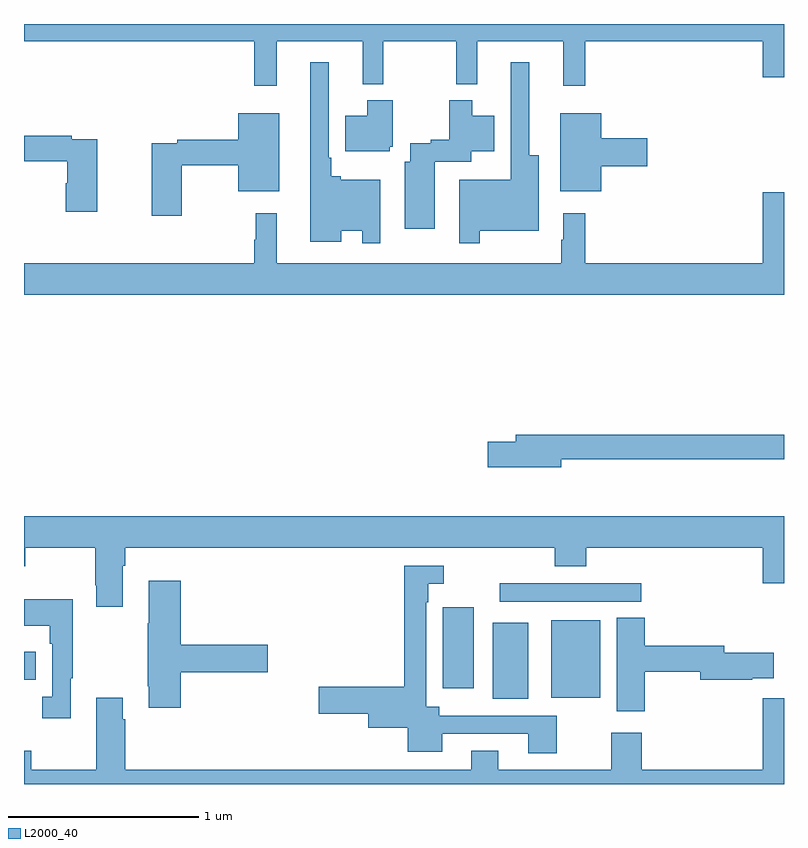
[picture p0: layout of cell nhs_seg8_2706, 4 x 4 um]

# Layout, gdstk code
import gdstk
lib = gdstk.Library(unit=1e-6, precision=1e-09)
def R(c, l, rs):  # rectangles x0, y0, x1, y1
    for r in rs: c.add(gdstk.rectangle(r[:2], r[2:], *l))
def P(c, l, *ps):  # polygons
    for p in ps: c.add(gdstk.Polygon(p, *l))
L2000_40 = (2000, 40)

nhs_seg8_2706 = lib.new_cell('nhs_seg8_2706')
R(nhs_seg8_2706, L2000_40, [(283.466,1138.349,283.654,1138.75), (283.775,1138.355,284.032,1138.762), (283.205,1138.404,283.366,1138.831), (281,1138.45,281.063,1138.597), (283.503,1138.86,284.248,1138.956)])
P(nhs_seg8_2706, L2000_40, [(282.329,1141.808),(282.782,1141.808),(282.782,1141.583),(282.892,1141.583),(282.892,1141.808),(283.275,1141.808),(283.275,1141.583),(283.385,1141.583),(283.385,1141.808),(283.838,1141.808),(283.838,1141.575),(283.955,1141.575),(283.955,1141.808),(284.888,1141.808),(284.888,1141.62),(285,1141.62),(285,1141.9),(281,1141.9),(281,1141.808),(282.211,1141.808),(282.211,1141.575),(282.329,1141.575)],
  [(283.399,1140.812),(283.708,1140.812),(283.708,1141.21),(283.66,1141.21),(283.66,1141.699),(283.563,1141.699),(283.563,1141.081),(283.29,1141.081),(283.29,1140.747),(283.399,1140.747)],
  [(282.876,1141.081),(282.666,1141.081),(282.666,1141.099),(282.616,1141.099),(282.616,1141.195),(282.603,1141.195),(282.603,1141.699),(282.506,1141.699),(282.506,1140.755),(282.67,1140.755),(282.67,1140.812),(282.78,1140.812),(282.78,1140.747),(282.876,1140.747)],
  [(283.162,1141.176),(283.354,1141.176),(283.354,1141.229),(283.474,1141.229),(283.474,1141.417),(283.36,1141.417),(283.36,1141.498),(283.238,1141.498),(283.238,1141.292),(283.14,1141.292),(283.14,1141.272),(283.034,1141.272),(283.034,1141.174),(283.004,1141.174),(283.004,1140.822),(283.162,1140.822)],
  [(282.924,1141.254),(282.94,1141.254),(282.94,1141.498),(282.806,1141.498),(282.806,1141.417),(282.692,1141.417),(282.692,1141.229),(282.924,1141.229)],
  [(281.83,1141.156),(282.128,1141.156),(282.128,1141.019),(282.343,1141.019),(282.343,1141.429),(282.128,1141.429),(282.128,1141.292),(281.806,1141.292),(281.806,1141.272),(281.672,1141.272),(281.672,1140.891),(281.83,1140.891)],
  [(284.038,1141.151),(284.281,1141.151),(284.281,1141.298),(284.038,1141.298),(284.038,1141.429),(283.823,1141.429),(283.823,1141.019),(284.038,1141.019)],
  [(281.386,1141.293),(281.252,1141.293),(281.252,1141.313),(281,1141.313),(281,1141.177),(281.228,1141.177),(281.228,1141.062),(281.221,1141.062),(281.221,1140.912),(281.386,1140.912)],
  [(285,1141.015),(284.888,1141.015),(284.888,1140.64),(283.955,1140.64),(283.955,1140.904),(283.838,1140.904),(283.838,1140.764),(283.827,1140.764),(283.827,1140.64),(282.329,1140.64),(282.329,1140.904),(282.219,1140.904),(282.219,1140.764),(282.211,1140.764),(282.211,1140.64),(281,1140.64),(281,1140.476),(285,1140.476)],
  [(283.828,1139.61),(285,1139.61),(285,1139.738),(283.589,1139.738),(283.589,1139.702),(283.44,1139.702),(283.44,1139.567),(283.828,1139.567)],
  [(281,1139.045),(281.007,1139.045),(281.007,1139.144),(281.374,1139.144),(281.374,1138.945),(281.381,1138.945),(281.381,1138.833),(281.521,1138.833),(281.521,1139.048),(281.534,1139.048),(281.534,1139.144),(283.793,1139.144),(283.793,1139.045),(283.958,1139.045),(283.958,1139.144),(284.888,1139.144),(284.888,1138.956),(285,1138.956),(285,1139.308),(281,1139.308)],
  [(283.803,1138.26),(283.186,1138.26),(283.186,1138.306),(283.116,1138.306),(283.116,1138.856),(283.128,1138.856),(283.128,1138.953),(283.21,1138.953),(283.21,1139.049),(283,1139.049),(283,1138.412),(282.552,1138.412),(282.552,1138.27),(282.812,1138.27),(282.812,1138.196),(283.019,1138.196),(283.019,1138.07),(283.201,1138.07),(283.201,1138.164),(283.655,1138.164),(283.655,1138.062),(283.803,1138.062)],
  [(281.825,1138.487),(282.283,1138.487),(282.283,1138.634),(281.825,1138.634),(281.825,1138.969),(281.657,1138.969),(281.657,1138.745),(281.65,1138.745),(281.65,1138.414),(281.657,1138.414),(281.657,1138.302),(281.825,1138.302)],
  [(281.245,1138.457),(281.257,1138.457),(281.257,1138.873),(281,1138.873),(281,1138.733),(281.136,1138.733),(281.136,1138.637),(281.148,1138.637),(281.148,1138.358),(281.097,1138.358),(281.097,1138.245),(281.245,1138.245)],
  [(284.267,1138.492),(284.558,1138.492),(284.558,1138.45),(284.834,1138.45),(284.834,1138.457),(284.947,1138.457),(284.947,1138.592),(284.686,1138.592),(284.686,1138.628),(284.267,1138.628),(284.267,1138.775),(284.12,1138.775),(284.12,1138.284),(284.267,1138.284)],
  [(285,1138.351),(284.888,1138.351),(284.888,1137.976),(284.252,1137.976),(284.252,1138.171),(284.092,1138.171),(284.092,1137.976),(283.495,1137.976),(283.495,1138.075),(283.355,1138.075),(283.355,1137.976),(281.534,1137.976),(281.534,1138.241),(281.521,1138.241),(281.521,1138.354),(281.381,1138.354),(281.381,1137.976),(281.037,1137.976),(281.037,1138.075),(281,1138.075),(281,1137.9),(285,1137.9)])

lib.write_gds('nhs_seg8_2706.gds')
